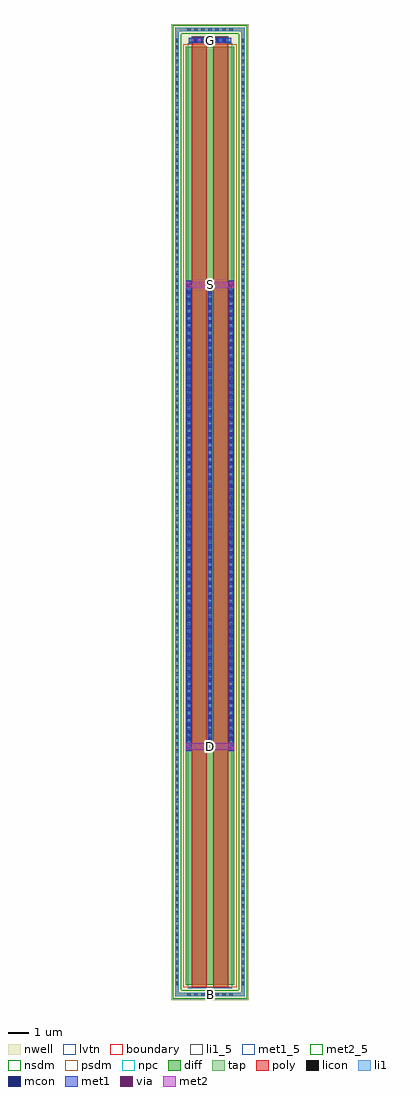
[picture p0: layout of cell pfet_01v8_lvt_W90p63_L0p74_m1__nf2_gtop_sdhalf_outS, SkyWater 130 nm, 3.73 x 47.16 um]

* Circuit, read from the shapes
.subckt pfet_01v8_lvt_W90p63_L0p74_m1__nf2_gtop_sdhalf_outS B D G S
XM1 D G S B sky130_fd_pr__pfet_01v8_lvt w=45.32 l=0.74 m=2
.ends

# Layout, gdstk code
import gdstk
lib = gdstk.Library(unit=1e-6, precision=1e-09)
def R(c, l, rs):  # rectangles x0, y0, x1, y1
    for r in rs: c.add(gdstk.rectangle(r[:2], r[2:], *l))
def A(c, l, x, y, w, h, nx, ny, dx, dy):  # array of equal rectangles
    R(c, l, [(x+i*dx, y+j*dy, x+i*dx+w, y+j*dy+h) for i in range(nx) for j in range(ny)])
nwell = (64, 20)
diff = (65, 20)
tap = (65, 44)
poly = (66, 20)
licon = (66, 44)
li1_5 = (67, 5)
li1 = (67, 20)
mcon = (67, 44)
met1_5 = (68, 5)
met1 = (68, 20)
via = (68, 44)
met2_5 = (69, 5)
met2 = (69, 20)
nsdm = (93, 44)
psdm = (94, 20)
npc = (95, 20)
lvtn = (125, 44)
boundary = (235, 4)

sky130_fd_pr__pfet_01v8_ = lib.new_cell('sky130_fd_pr__pfet_01v8_lvt_SQTA6M')
R(sky130_fd_pr__pfet_01v8_, nwell, [(-1.865,-23.58,1.865,23.58)])
R(sky130_fd_pr__pfet_01v8_, diff, [(-1.175,-22.84,1.175,22.48)])
R(sky130_fd_pr__pfet_01v8_, tap, [(-1.685,-23.4,1.685,-23.23), (-1.685,-23.23,-1.515,23.23), (1.515,-23.23,1.685,23.23), (-1.685,23.23,1.685,23.4)])
R(sky130_fd_pr__pfet_01v8_, poly, [(-0.885,-22.97,-0.145,22.965), (0.145,-22.97,0.885,22.965)])
A(sky130_fd_pr__pfet_01v8_, licon, -1.105, -23.4, 0.17, 0.17, 7, 2, 0.34, 46.63)
A(sky130_fd_pr__pfet_01v8_, licon, -1.685, -22.865, 0.17, 0.17, 1, 135, 0, 0.34)
A(sky130_fd_pr__pfet_01v8_, licon, 1.515, -22.865, 0.17, 0.17, 1, 135, 0, 0.34)
A(sky130_fd_pr__pfet_01v8_, licon, -1.115, -11.315, 0.17, 0.17, 3, 66, 1.03, 0.34)
R(sky130_fd_pr__pfet_01v8_, licon, [(-0.77,22.715,-0.6,22.885), (-0.43,22.715,-0.26,22.885), (0.26,22.715,0.43,22.885), (0.6,22.715,0.77,22.885)])
A(sky130_fd_pr__pfet_01v8_, li1, -1.115, -11.56, 0.17, 22.76, 3, 1, 1.03, 0)
R(sky130_fd_pr__pfet_01v8_, li1, [(-1.685,-23.4,1.685,-23.23), (-1.685,-23.23,-1.515,23.23), (1.515,-23.23,1.685,23.23), (-1.03,22.715,1.03,22.885), (-1.685,23.23,1.685,23.4)])
A(sky130_fd_pr__pfet_01v8_, mcon, -1.115, -11.425, 0.17, 0.17, 3, 63, 1.03, 0.36)
R(sky130_fd_pr__pfet_01v8_, mcon, [(-0.78,22.715,-0.61,22.885), (-0.42,22.715,-0.25,22.885), (0.25,22.715,0.42,22.885), (0.61,22.715,0.78,22.885)])
A(sky130_fd_pr__pfet_01v8_, met1, -1.145, -11.54, 0.23, 22.72, 3, 1, 1.03, 0)
R(sky130_fd_pr__pfet_01v8_, met1, [(-0.865,22.685,-0.165,22.715), (0.165,22.685,0.865,22.715), (-1.03,22.715,1.03,22.885), (-0.865,22.885,-0.165,22.915), (0.165,22.885,0.865,22.915)])
R(sky130_fd_pr__pfet_01v8_, nsdm, [(-1.81,-23.525,1.81,-23.105), (-1.81,-23.105,-1.39,23.105), (1.39,-23.105,1.81,23.105), (-1.81,23.105,1.81,23.525)])
R(sky130_fd_pr__pfet_01v8_, psdm, [(-1.3,-22.965,1.3,22.605)])
R(sky130_fd_pr__pfet_01v8_, npc, [(-0.87,22.615,-0.16,22.985), (0.16,22.615,0.87,22.985)])
R(sky130_fd_pr__pfet_01v8_, lvtn, [(-1.065,-23.02,1.065,22.66)])
R(sky130_fd_pr__pfet_01v8_, boundary, [(-1.6,-23.315,1.6,23.315)])
sky130_fd_pr__pfet_01v8_.add(gdstk.Label('B', (0,-23.315), layer=67, texttype=5))
sky130_fd_pr__pfet_01v8_.add(gdstk.Label('D0', (-1.03,-0.18), layer=67, texttype=5))
sky130_fd_pr__pfet_01v8_.add(gdstk.Label('G', (0.515,22.8), layer=67, texttype=5))
sky130_fd_pr__pfet_01v8_.add(gdstk.Label('G', (-0.515,22.8), layer=67, texttype=5))
sky130_fd_pr__pfet_01v8_.add(gdstk.Label('S1', (0,-0.18), layer=67, texttype=5))

pfet_01v8_lvt_w90p63_l0p = lib.new_cell('pfet_01v8_lvt_W90p63_L0p74_m1__nf2_gtop_sdhalf_outS')
R(pfet_01v8_lvt_w90p63_l0p, li1_5, [(1.515,-0.085,1.685,0.085)])
R(pfet_01v8_lvt_w90p63_l0p, li1, [(1.515,-0.085,1.685,0.085)])
R(pfet_01v8_lvt_w90p63_l0p, met1_5, [(0.57,46,2.63,46.23)])
R(pfet_01v8_lvt_w90p63_l0p, met1, [(1.47,11.825,1.73,12.145), (0.44,34.125,0.7,34.445), (2.5,34.125,2.76,34.445), (0.57,46,2.63,46.23)])
R(pfet_01v8_lvt_w90p63_l0p, via, [(1.525,11.91,1.675,12.06), (0.495,34.21,0.645,34.36), (2.555,34.21,2.705,34.36)])
R(pfet_01v8_lvt_w90p63_l0p, met2_5, [(0.435,11.825,2.765,12.145), (0.435,34.125,2.765,34.445)])
R(pfet_01v8_lvt_w90p63_l0p, met2, [(0.435,11.825,2.765,12.145), (0.435,34.125,2.765,34.445)])
pfet_01v8_lvt_w90p63_l0p.add(gdstk.Reference(sky130_fd_pr__pfet_01v8_, (1.6,23.315)))
pfet_01v8_lvt_w90p63_l0p.add(gdstk.Label('S', (1.6,34.285), layer=69, texttype=5))
pfet_01v8_lvt_w90p63_l0p.add(gdstk.Label('D', (1.6,11.985), layer=69, texttype=5))
pfet_01v8_lvt_w90p63_l0p.add(gdstk.Label('G', (1.6,46.115), layer=68, texttype=5))
pfet_01v8_lvt_w90p63_l0p.add(gdstk.Label('B', (1.6,0), layer=67, texttype=5))

lib.write_gds('pfet_01v8_lvt_W90p63_L0p74_m1__nf2_gtop_sdhalf_outS.gds')
